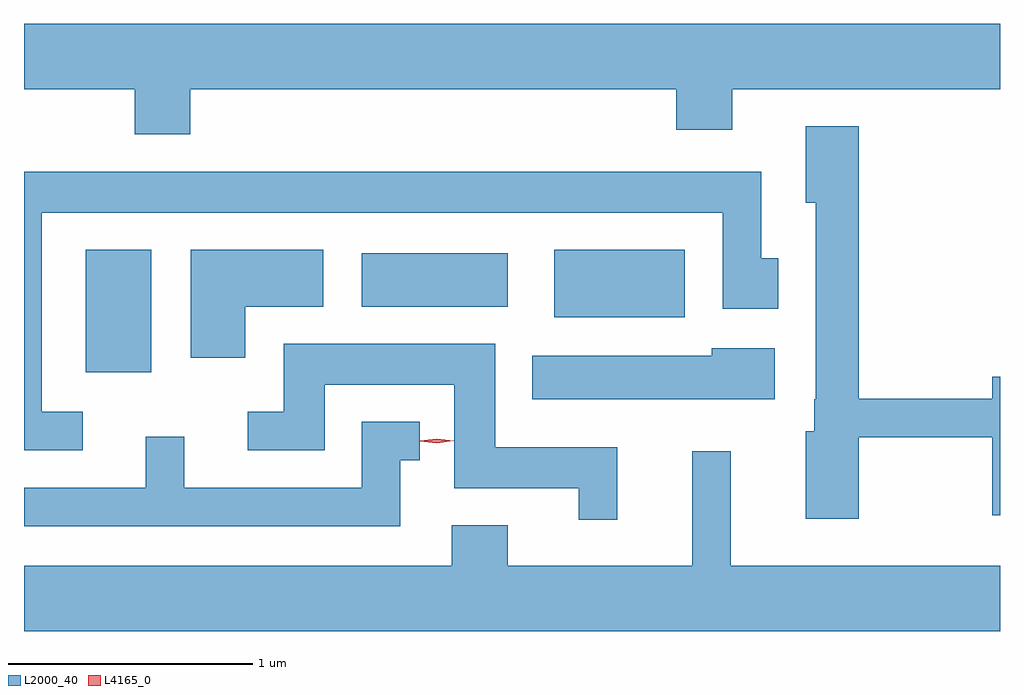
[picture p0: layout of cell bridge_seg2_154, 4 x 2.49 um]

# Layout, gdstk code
import gdstk
lib = gdstk.Library(unit=1e-6, precision=1e-09)
def R(c, l, rs):  # rectangles x0, y0, x1, y1
    for r in rs: c.add(gdstk.rectangle(r[:2], r[2:], *l))
def P(c, l, *ps):  # polygons
    for p in ps: c.add(gdstk.Polygon(p, *l))
L2000_40 = (2000, 40)
L4165_0 = (4165, 0)

bridge_seg2_154 = lib.new_cell('bridge_seg2_154')
R(bridge_seg2_154, L2000_40, [(678.531,1076.016,678.799,1076.519), (680.451,1076.241,680.984,1076.519), (679.661,1076.286,680.259,1076.504)])
P(bridge_seg2_154, L2000_40, [(678.959,1077.176),(680.951,1077.176),(680.951,1077.011),(681.179,1077.011),(681.179,1077.176),(682.277,1077.176),(682.277,1077.444),(678.277,1077.444),(678.277,1077.176),(678.731,1077.176),(678.731,1076.991),(678.959,1076.991)],
  [(681.699,1075.751),(682.246,1075.751),(682.246,1075.431),(682.277,1075.431),(682.277,1075.999),(682.246,1075.999),(682.246,1075.909),(681.699,1075.909),(681.699,1077.024),(681.481,1077.024),(681.481,1076.711),(681.521,1076.711),(681.521,1075.905),(681.516,1075.905),(681.516,1075.774),(681.481,1075.774),(681.481,1075.416),(681.699,1075.416)],
  [(678.518,1075.854),(678.349,1075.854),(678.349,1076.671),(681.141,1076.671),(681.141,1076.276),(681.369,1076.276),(681.369,1076.484),(681.299,1076.484),(681.299,1076.839),(678.277,1076.839),(678.277,1075.696),(678.518,1075.696)],
  [(679.184,1076.286),(679.504,1076.286),(679.504,1076.519),(678.961,1076.519),(678.961,1076.076),(679.184,1076.076)],
  [(680.709,1075.709),(680.209,1075.709),(680.209,1076.134),(679.341,1076.134),(679.341,1075.854),(679.193,1075.854),(679.193,1075.696),(679.509,1075.696),(679.509,1075.966),(680.041,1075.966),(680.041,1075.541),(680.551,1075.541),(680.551,1075.413),(680.709,1075.413)],
  [(681.354,1076.114),(681.096,1076.114),(681.096,1076.084),(680.361,1076.084),(680.361,1075.906),(681.354,1075.906)],
  [(679.819,1075.656),(679.898,1075.656),(679.898,1075.814),(679.661,1075.814),(679.661,1075.544),(678.934,1075.544),(678.934,1075.753),(678.776,1075.753),(678.776,1075.544),(678.277,1075.544),(678.277,1075.386),(679.819,1075.386)],
  [(682.277,1075.224),(681.174,1075.224),(681.174,1075.693),(681.016,1075.693),(681.016,1075.224),(680.259,1075.224),(680.259,1075.389),(680.031,1075.389),(680.031,1075.224),(678.277,1075.224),(678.277,1074.956),(682.277,1074.956)])
P(bridge_seg2_154, L4165_0, [(679.968,1075.726),(679.899,1075.734),(679.899,1075.735),(679.899,1075.735),(679.968,1075.745),(680.038,1075.736),(680.038,1075.736),(680.038,1075.735)])

lib.write_gds('bridge_seg2_154.gds')
